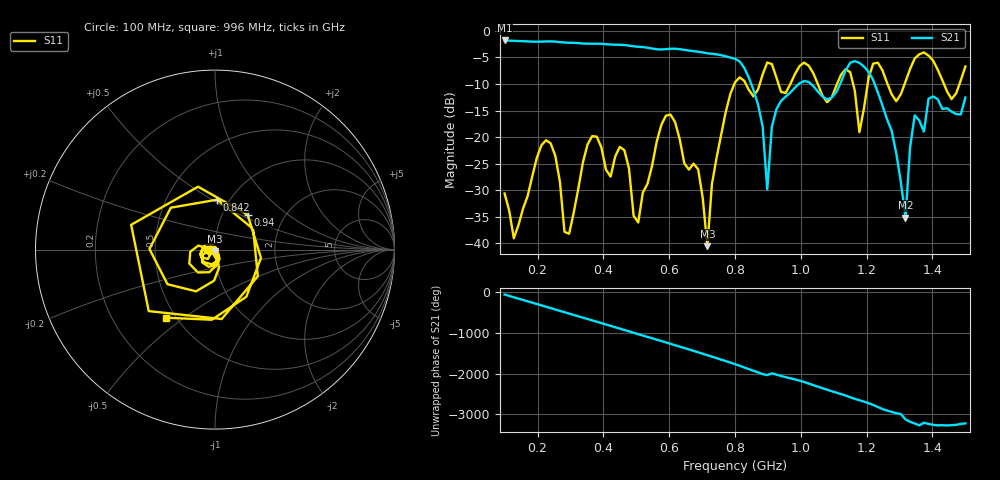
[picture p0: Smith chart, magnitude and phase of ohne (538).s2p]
! NanoVNA-App
! Date: 2025-09-25 14:24:59
! Start: 100MHz Stop: 1,5GHz Points: 101
! S-Parameter data: F S11 S21 S12 S22
# Hz S RI R 50
!  Frequency  S11_Real  S11_Imag  S21_Real  S21_Imag  S12_Real  S12_Imag  S22_Real  S22_Imag
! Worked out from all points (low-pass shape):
!   101 points, 100 MHz to 1.5 GHz, reference 50 ohm
!   highest |S21| = -1.79 dB at 100 MHz (marker M1); lowest = -35.2 dB at 1.318 GHz (marker M2)
!   |S21| within 3 dB of the highest: start of sweep to 771.9 MHz
!   lowest |S11| = -40.6 dB at 716 MHz (marker M3), VSWR 1.02, Z = 49.9 - j0.925 ohm
!   |S11| at or under -10 dB: start of sweep to 798 MHz; 833 MHz to 875.1 MHz (42.09 MHz wide, 4.93 % of centre); 1.052 GHz to 1.11 GHz (58.43 MHz wide, 5.41 % of centre) (the widest 3 of 7)
!   S12 and S22 are empty: the file has one direction only
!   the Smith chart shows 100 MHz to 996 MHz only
!   S11 on the Smith chart (normalised r, x): 100 MHz: 0.94, -0.01; 842 MHz: 0.88, +0.53; 940 MHz: 1.31, +0.55; 996 MHz: 0.44, -0.43
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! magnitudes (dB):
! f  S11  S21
! 100 MHz  -30.6  -1.8
! 128 MHz  -39.1  -1.9
! 226 MHz  -20.6  -2.0
! 296 MHz  -38.2  -2.2
! 338 MHz  -24.8  -2.4
! 464 MHz  -22.5  -2.7
! 506 MHz  -36.1  -3.0
! 576 MHz  -17.7  -3.5
! 688 MHz  -26.1  -3.9
! 716 MHz  -40.6  -4.2
! 800 MHz  -9.7  -5.3
! 842 MHz  -11.1  -8.8
! 898 MHz  -6.0  -29.9
! 940 MHz  -11.5  -13.2
! 996 MHz  -6.6  -9.9
! 1.038 GHz  -8.0  -10.4
! 1.178 GHz  -19.1  -6.0
! 1.22 GHz  -6.2  -9.3
! 1.276 GHz  -11.9  -18.8
! 1.318 GHz  -9.6  -35.2
! 1.346 GHz  -5.2  -15.9
! 1.5 GHz  -6.7  -12.5
